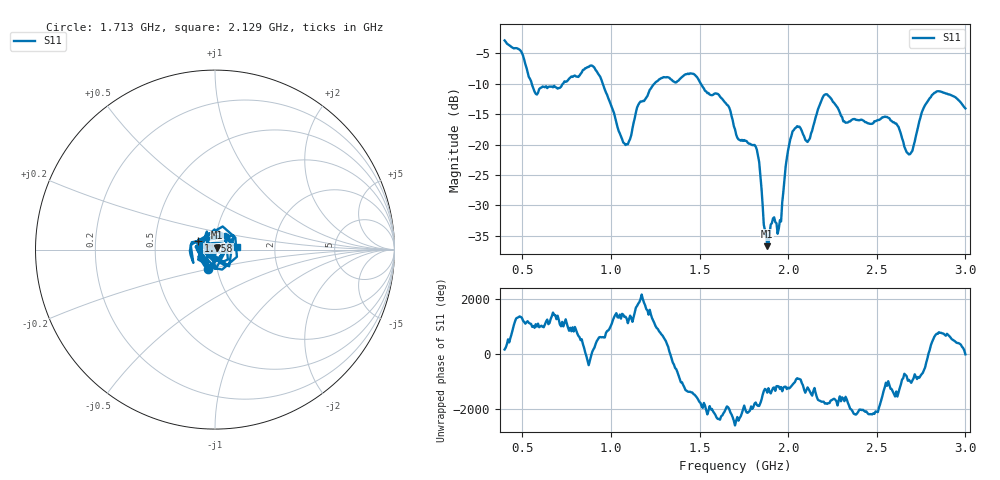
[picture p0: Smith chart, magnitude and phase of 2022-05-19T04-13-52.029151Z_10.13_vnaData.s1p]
!Created with skrf (http://scikit-rf.org).
# Hz S RI R 50.0
!freq ReS11 ImS11
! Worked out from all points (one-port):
!   401 points, 400 MHz to 3 GHz, reference 50 ohm
!   lowest |S11| = -36.8 dB at 1.882 GHz (marker M1), VSWR 1.03, Z = 50.9 + j1.14 ohm
!   |S11| at or under -10 dB: 553.4 MHz to 728.9 MHz (175.5 MHz wide, 27.4 % of centre); 953.9 MHz to 1.245 GHz (290.9 MHz wide, 26.5 % of centre); 1.507 GHz to end of sweep
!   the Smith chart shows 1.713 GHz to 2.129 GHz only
!   S11 on the Smith chart (normalised r, x): 1.713 GHz: 0.90, -0.19; 1.758 GHz: 0.82, +0.08; 2.129 GHz: 1.28, +0.04
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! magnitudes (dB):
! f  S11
! 400 MHz  -2.9
! 491 MHz  -4.6
! 575.5 MHz  -11.6
! 725 MHz  -10.1
! 900.5 MHz  -7.2
! 1.05 GHz  -18.2
! 1.095 GHz  -20.0
! 1.154 GHz  -13.5
! 1.258 GHz  -9.6
! 1.375 GHz  -9.6
! 1.46 GHz  -8.3
! 1.609 GHz  -11.8
! 1.7 GHz  -17.5
! 1.713 GHz  -18.9
! 1.758 GHz  -19.4
! 1.823 GHz  -20.9
! 1.869 GHz  -34.1
! 1.882 GHz  -36.8
! 1.954 GHz  -32.5
! 1.992 GHz  -22.2
! 2.025 GHz  -17.8
! 2.129 GHz  -18.2
! 2.213 GHz  -11.7
! 2.35 GHz  -16.2
! 2.558 GHz  -15.5
! 2.675 GHz  -21.5
! 2.825 GHz  -11.5
! 3 GHz  -14.1
